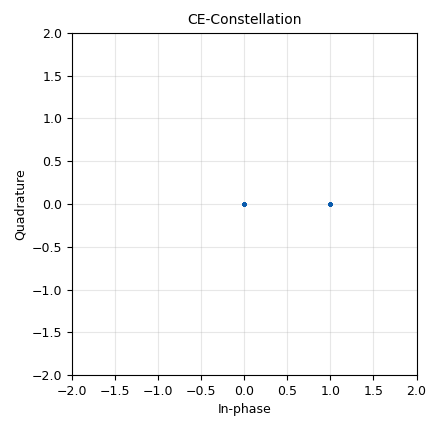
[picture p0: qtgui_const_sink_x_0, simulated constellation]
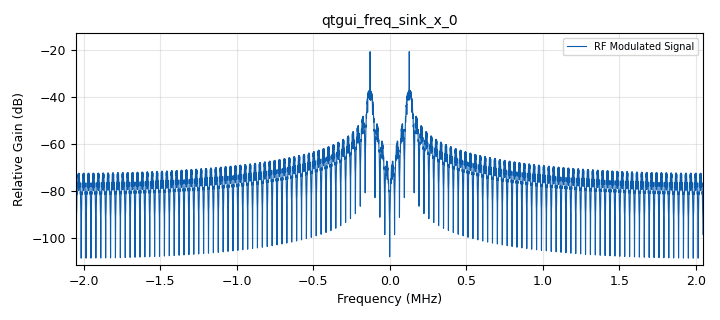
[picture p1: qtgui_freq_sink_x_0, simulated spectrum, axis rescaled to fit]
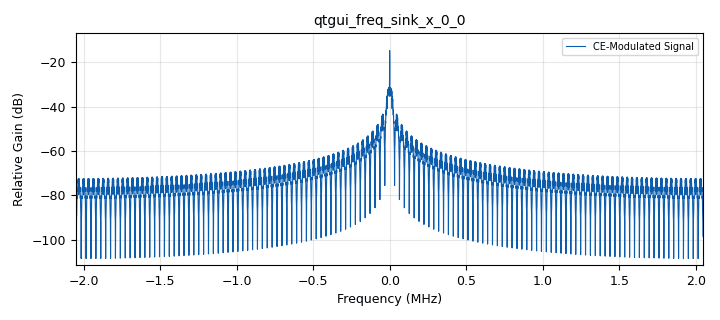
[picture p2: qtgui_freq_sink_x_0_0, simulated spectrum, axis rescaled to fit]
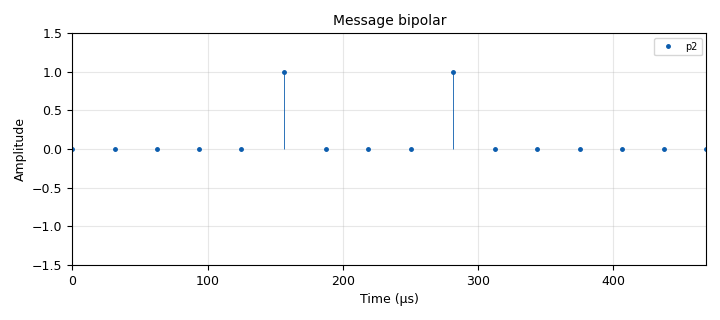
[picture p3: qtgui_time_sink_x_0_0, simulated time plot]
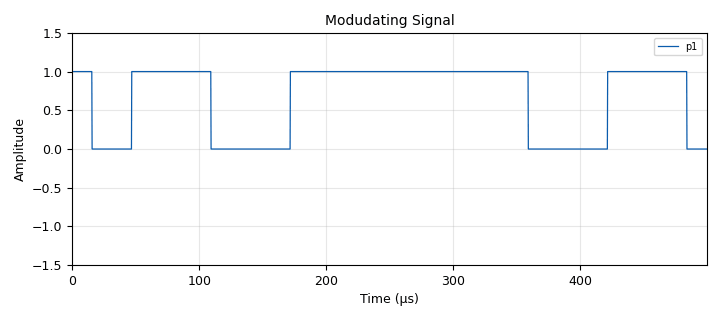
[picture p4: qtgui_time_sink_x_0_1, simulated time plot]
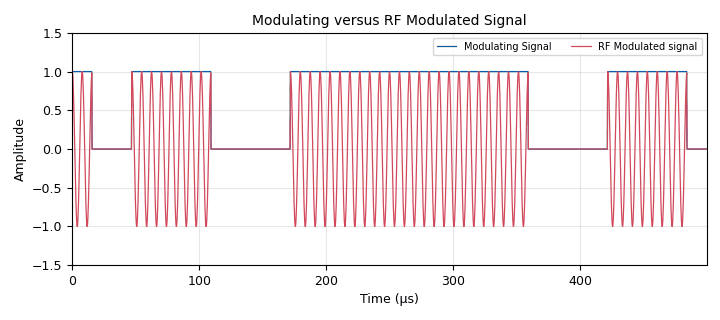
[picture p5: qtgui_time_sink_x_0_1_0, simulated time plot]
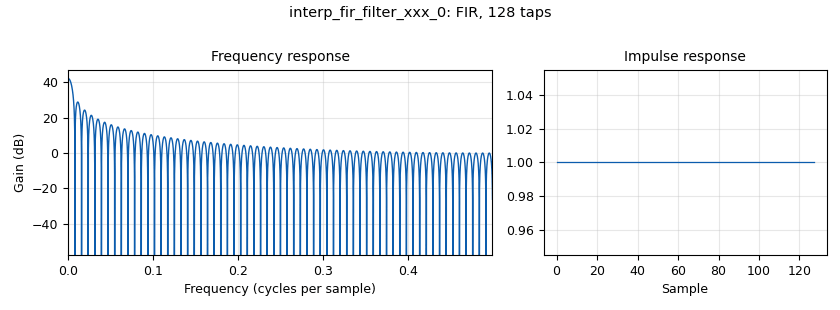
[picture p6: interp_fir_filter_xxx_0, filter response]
options:
  parameters:
    author: radiogis_director
    generate_options: qt_gui
    id: ook
    output_language: python
    title: ook
  states: {}

blocks:
- name: Rb
  id: variable
  parameters:
    value: '32000'
  states: {}
- name: Sps
  id: variable
  parameters:
    value: '128'
  states: {}
- name: fc
  id: variable_qtgui_range
  parameters:
    gui_hint: 0,0,1,1
    label: 'Carrier Freq. '
    start: '0'
    step: samp_rate/1000
    stop: samp_rate/8
    value: Rb*4
  states: {}
- name: fd
  id: variable_qtgui_range
  parameters:
    gui_hint: 0,1,1,1
    label: Deviation Freq
    start: '0'
    step: samp_rate/1000
    stop: samp_rate/8
    value: Rb
  states: {}
- name: h
  id: variable
  parameters:
    value: '[1]*Sps'
  states: {}
- name: samp_rate
  id: variable
  parameters:
    value: Rb*Sps
  states: {}
- name: Menu
  id: qtgui_tab_widget
  parameters:
    gui_hint: 4,0,1,2
    label0: Message
    label1: RF Modulated. Time Domain
    label2: RF Modulated. Freq Domain
    label3: Constellation
    num_tabs: '4'
  states: {}
- name: analog_const_source_x_0
  id: analog_const_source_x
  parameters:
    const: '0'
    type: float
  states: {}
- name: analog_random_source_x_0
  id: analog_random_source_x
  parameters:
    max: '2'
    min: '0'
    num_samps: '1000000'
    repeat: 'True'
    type: byte
  states: {}
- name: blocks_add_const_vxx_0
  id: blocks_add_const_vxx
  parameters:
    const: '-0.5'
    type: float
  states: {state: disabled}
- name: blocks_char_to_float_0
  id: blocks_char_to_float
  parameters:
    scale: '1'
  states: {}
- name: blocks_multiply_const_vxx_0
  id: blocks_multiply_const_vxx
  parameters:
    const: 2*math.pi*fd/(Rb*Sps)
    type: float
  states: {state: disabled}
- name: blocks_multiply_const_vxx_0_0
  id: blocks_multiply_const_vxx
  parameters:
    const: '2'
    type: float
  states: {state: disabled}
- name: blocks_multiply_const_vxx_0_1
  id: blocks_multiply_const_vxx
  parameters:
    const: math.pi
    type: float
  states: {state: disabled}
- name: epy_block_0
  id: epy_block
  parameters:
    _source_code: "import numpy as np\nfrom gnuradio import gr\nimport math\n\nclass blk(gr.sync_block):  \n    \"\"\"This block is a RF VCO and works as following:\n\tThis block implements a voltage-controlled oscillator (VCO) in the digital domain.\nIts main function is to generate a sinusoidal signal whose amplitude and phase can be controlled externally using the block's inputs.\nThe block receives two float inputs (32-bit floating-point numbers)\nand produces a float output.\nFirst input: Amplitude: This input controls the amplitude of the sinusoidal signal. Each sample received at this input directly multiplies\nthe amplitude of the generated wave. If a constant is entered, the signal will have a fixed amplitude; if it varies over time,\nthe output will reflect that amplitude modulation.\nSecond input: Phase: Corresponds to the instantaneous phase added to the carrier angle.\nIt allows the signal to be shifted in time (phase shift) or even phase modulated if this input changes over time.\nOutput: Modulated sinusoidal signal\"\"\"\n\n    def __init__(self, fc=128000, samp_rate=320000):  \n        gr.sync_block.__init__(\n            self,\n            name='e_RF_VCO_ff',   \n            in_sig=[np.float32, np.float32],\n            out_sig=[np.float32]\n        )\n        self.fc = fc\n        self.samp_rate = samp_rate\n        self.n_m=0\n\n    def work(self, input_items, output_items):\n        A=input_items[0]\n        Q=input_items[1]\n        y=output_items[0]\n        N=len(A)\n        n=np.linspace(self.n_m,self.n_m+N-1,N)\n        self.n_m += N\n        y[:]=A*np.cos(2*math.pi*self.fc*n/self.samp_rate+Q)\n        return len(output_items[0])\n\n\n"
    fc: fc
    samp_rate: samp_rate
  states: {}
- name: epy_block_0_0
  id: epy_block
  parameters:
    _source_code: |
      import numpy as np
      from gnuradio import gr
      import math

      class blk(gr.sync_block):  
          """This block is a CE VCO or baseband VCO and works as following:
      	      This block implements a baseband voltage-controlled oscillator (CE VCO or Complex Exponential VCO).
              Its function is to generate a complex baseband signal whose amplitude and phase are controlled by the block's inputs.
              Unlike the RF VCO (which generates a real passband signal with center frequency fc), this block operates in the complex domain
              and does not use an explicit carrier frequency parameter.
              First input: Amplitude: This is a vector of values ​​that control the magnitude of the complex output signal.
              If a constant value (for example, 1.0) is entered, the output will have a fixed amplitude. If the amplitude varies over time,
              amplitude modulation (AM) is generated.
              Second input: Phase: This directly represents the instantaneous phase of the complex signal. Each sample in this input defines the angle of the complex exponential.
              By varying this input over time, phase modulation (PM) or frequency modulation (FM) can be implemented, depending on how the phase evolves.
              Output: Complex baseband signal."""

          def __init__(self,):  
              gr.sync_block.__init__(
                  self,
                  name='e_CE_VCO_fc',   
                  in_sig=[np.float32, np.float32],
                  out_sig=[np.complex64]
              )
              
          def work(self, input_items, output_items):
              A=input_items[0]
              Q=input_items[1]
              y=output_items[0]
              N=len(A)
              y[:]=A*np.exp(1j*Q)
              return len(output_items[0])
  states: {}
- name: epy_block_0_1
  id: epy_block
  parameters:
    _source_code: |
      """
      Embedded Python Blocks:

      Each time this file is saved, GRC will instantiate the first class it finds
      to get ports and parameters of your block. The arguments to __init__  will
      be the parameters. All of them are required to have default values!
      """

      import numpy as np
      from gnuradio import gr


      class blk(gr.sync_block):  # other base classes are basic_block, decim_block, interp_block
          """Embedded Python Block example - a simple multiply const"""

          def __init__(self,):  # only default arguments here
              """arguments to this function show up as parameters in GRC"""
              gr.sync_block.__init__(
                  self,
                  name='e_Acum',   # will show up in GRC
                  in_sig=[np.float32],
                  out_sig=[np.float32]
              )
              self.acum=0
              
          def work(self, input_items, output_items):
              x=input_items[0]
              y= output_items[0]


              y[:]=self.acum+np.cumsum(x)
              self.acum=y[-1]
              return len(y)
  states: {state: disabled}
- name: import_0
  id: import
  parameters:
    imports: import math
  states: {}
- name: import_0_0
  id: import
  parameters:
    imports: import numpy as np
  states: {}
- name: interp_fir_filter_xxx_0
  id: interp_fir_filter_xxx
  parameters:
    interp: Sps
    taps: h
    type: fff
  states: {}
- name: qtgui_const_sink_x_0
  id: qtgui_const_sink_x
  parameters:
    gui_hint: Menu@3:3,1,1,1
    name: '"CE-Constellation"'
    size: '1024'
    type: complex
    width1: '8'
  states: {}
- name: qtgui_freq_sink_x_0
  id: qtgui_freq_sink_x
  parameters:
    average: '0.05'
    bw: samp_rate
    fc: '0'
    fftsize: 1024*8
    gui_hint: Menu@2:2,1,1,1
    label1: RF Modulated Signal
    type: float
    width1: '2'
    ymax: '-35'
    ymin: '-65'
  states: {}
- name: qtgui_freq_sink_x_0_0
  id: qtgui_freq_sink_x
  parameters:
    average: '0.05'
    bw: samp_rate
    fc: '0'
    fftsize: 1024*8
    gui_hint: Menu@2:3,1,1,1
    label1: CE-Modulated Signal
    type: complex
    width1: '2'
    ymax: '-35'
    ymin: '-65'
  states: {}
- name: qtgui_time_sink_x_0_0
  id: qtgui_time_sink_x
  parameters:
    gui_hint: Menu@0:3,1,1,1
    label1: p2
    marker1: '0'
    name: '"Message bipolar"'
    size: '16'
    srate: Rb
    stemplot: 'True'
    type: float
    width1: '3'
    ymax: '1.5'
    ymin: '-1.5'
  states: {}
- name: qtgui_time_sink_x_0_1
  id: qtgui_time_sink_x
  parameters:
    gui_hint: Menu@0:4,1,1,1
    label1: p1
    name: Modudating Signal
    size: 16*Sps
    srate: samp_rate
    type: float
    width1: '3'
    ymax: '1.5'
    ymin: '-1.5'
  states: {}
- name: qtgui_time_sink_x_0_1_0
  id: qtgui_time_sink_x
  parameters:
    gui_hint: Menu@1:2,1,1,1
    label1: Modulating Signal
    label2: RF Modulated signal
    name: Modulating versus RF Modulated Signal
    nconnections: '2'
    size: 16*Sps
    srate: samp_rate
    type: float
    width1: '4'
    width2: '2'
    ymax: '1.5'
    ymin: '-1.5'
  states: {}
- name: qtgui_time_sink_x_0_1_0_0
  id: qtgui_time_sink_x
  parameters:
    gui_hint: Menu@1:3,1,1,1
    label1: I-Signal
    label2: Q-signal
    name: CE Modulated Signal
    size: 16*Sps
    srate: samp_rate
    type: complex
    width1: '2'
    width2: '2'
    ymax: '1.5'
    ymin: '-1.5'
  states: {}
- name: virtual_sink_0_0
  id: virtual_sink
  parameters:
    stream_id: p2
  states: {}
- name: virtual_sink_0_0_0
  id: virtual_sink
  parameters:
    stream_id: p3
  states: {}
- name: virtual_sink_0_0_0_0
  id: virtual_sink
  parameters:
    stream_id: p4
  states: {}
- name: virtual_sink_0_0_0_0_0
  id: virtual_sink
  parameters:
    stream_id: p4b
  states: {}
- name: virtual_source_0_0
  id: virtual_source
  parameters:
    stream_id: p2
  states: {}
- name: virtual_source_0_1
  id: virtual_source
  parameters:
    stream_id: p3
  states: {}
- name: virtual_source_0_1_0
  id: virtual_source
  parameters:
    stream_id: p4
  states: {}
- name: virtual_source_0_1_0_0
  id: virtual_source
  parameters:
    stream_id: p4b
  states: {}

connections:
- [analog_const_source_x_0, '0', epy_block_0, '1']
- [analog_const_source_x_0, '0', epy_block_0_0, '1']
- [analog_random_source_x_0, '0', blocks_char_to_float_0, '0']
- [blocks_add_const_vxx_0, '0', blocks_multiply_const_vxx_0_0, '0']
- [blocks_char_to_float_0, '0', blocks_add_const_vxx_0, '0']
- [blocks_char_to_float_0, '0', interp_fir_filter_xxx_0, '0']
- [blocks_char_to_float_0, '0', virtual_sink_0_0, '0']
- [blocks_multiply_const_vxx_0_0, '0', interp_fir_filter_xxx_0, '0']
- [blocks_multiply_const_vxx_0_0, '0', virtual_sink_0_0, '0']
- [epy_block_0, '0', virtual_sink_0_0_0_0, '0']
- [epy_block_0_0, '0', virtual_sink_0_0_0_0_0, '0']
- [epy_block_0_1, '0', blocks_multiply_const_vxx_0, '0']
- [interp_fir_filter_xxx_0, '0', epy_block_0, '0']
- [interp_fir_filter_xxx_0, '0', epy_block_0_0, '0']
- [interp_fir_filter_xxx_0, '0', epy_block_0_1, '0']
- [interp_fir_filter_xxx_0, '0', virtual_sink_0_0_0, '0']
- [virtual_source_0_0, '0', qtgui_time_sink_x_0_0, '0']
- [virtual_source_0_1, '0', qtgui_time_sink_x_0_1, '0']
- [virtual_source_0_1, '0', qtgui_time_sink_x_0_1_0, '0']
- [virtual_source_0_1_0, '0', qtgui_freq_sink_x_0, '0']
- [virtual_source_0_1_0, '0', qtgui_time_sink_x_0_1_0, '1']
- [virtual_source_0_1_0_0, '0', qtgui_const_sink_x_0, '0']
- [virtual_source_0_1_0_0, '0', qtgui_freq_sink_x_0_0, '0']
- [virtual_source_0_1_0_0, '0', qtgui_time_sink_x_0_1_0_0, '0']

metadata:
  file_format: 1
  grc_version: 3.10.12.0
